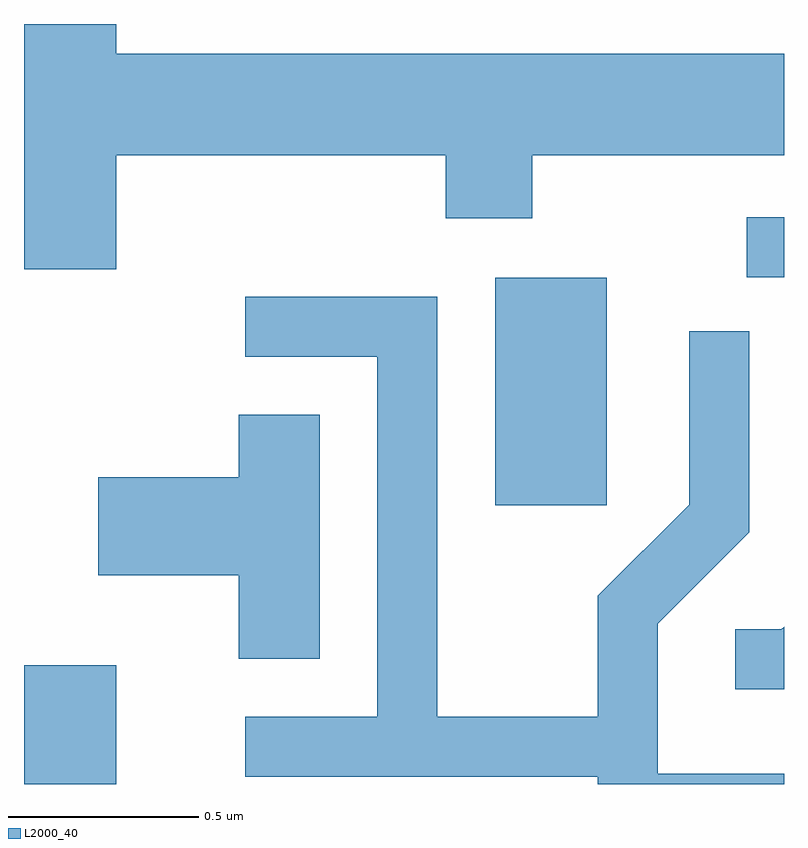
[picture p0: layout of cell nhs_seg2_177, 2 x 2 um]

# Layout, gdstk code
import gdstk
lib = gdstk.Library(unit=1e-6, precision=1e-09)
def R(c, l, rs):  # rectangles x0, y0, x1, y1
    for r in rs: c.add(gdstk.rectangle(r[:2], r[2:], *l))
def P(c, l, *ps):  # polygons
    for p in ps: c.add(gdstk.Polygon(p, *l))
L2000_40 = (2000, 40)

nhs_seg2_177 = lib.new_cell('nhs_seg2_177')
R(nhs_seg2_177, L2000_40, [(186.611,1017.802,186.854,1018.114), (187.851,1018.536,188.144,1019.134), (188.513,1019.136,188.611,1019.294)])
P(nhs_seg2_177, L2000_40, [(186.854,1019.456),(187.721,1019.456),(187.721,1019.291),(187.949,1019.291),(187.949,1019.456),(188.611,1019.456),(188.611,1019.724),(186.854,1019.724),(186.854,1019.802),(186.611,1019.802),(186.611,1019.156),(186.854,1019.156)],
  [(188.611,1017.829),(188.279,1017.829),(188.279,1018.224),(188.519,1018.464),(188.519,1018.993),(188.361,1018.993),(188.361,1018.537),(188.121,1018.297),(188.121,1017.979),(187.699,1017.979),(187.699,1019.084),(187.193,1019.084),(187.193,1018.926),(187.541,1018.926),(187.541,1017.979),(187.193,1017.979),(187.193,1017.821),(188.121,1017.821),(188.121,1017.802),(188.611,1017.802)],
  [(187.389,1018.774),(187.176,1018.774),(187.176,1018.609),(186.806,1018.609),(186.806,1018.351),(187.176,1018.351),(187.176,1018.131),(187.389,1018.131)],
  [(188.611,1018.216),(188.604,1018.209),(188.483,1018.209),(188.483,1018.051),(188.611,1018.051)])

lib.write_gds('nhs_seg2_177.gds')
